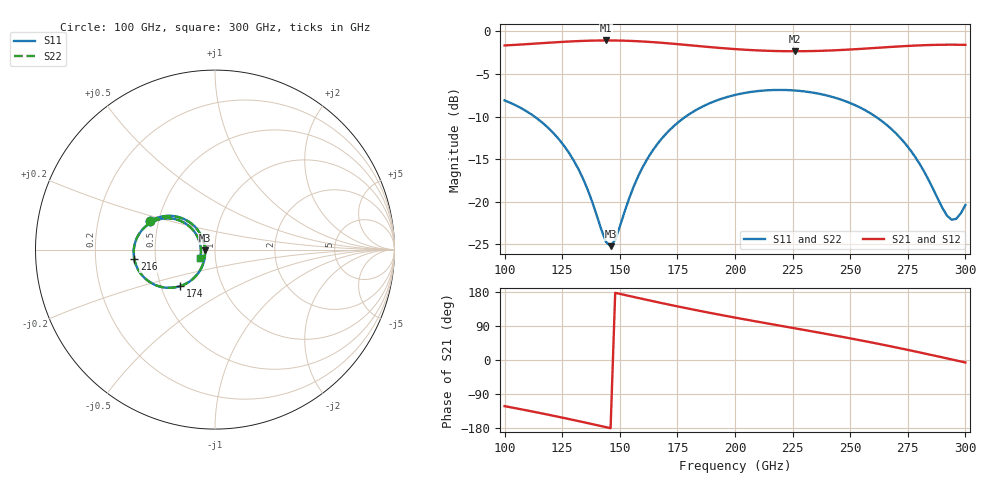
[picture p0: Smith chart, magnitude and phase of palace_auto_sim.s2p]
#  GHZ S DB R 50
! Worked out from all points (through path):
!   101 points, 100 GHz to 300 GHz, reference 50 ohm
!   highest |S21| = -1.06 dB at 144 GHz (marker M1); lowest = -2.3 dB at 226 GHz (marker M2)
!   group delay of S21, straight-line fit = 3.35 ps
!   lowest |S11| = -25.2 dB at 146 GHz (marker M3), VSWR 1.12, Z = 44.8 - j0.433 ohm
!   |S11| at or under -10 dB: 113 GHz to 178.6 GHz (65.65 GHz wide, 45 % of centre); 261 GHz to end of sweep
!   |S22| runs from -25.1 to -6.9 dB; largest |S21 - S12| = 9.6e-14
!   S11 on the Smith chart (normalised r, x): 100 GHz: 0.45, +0.17; 174 GHz: 0.63, -0.28; 216 GHz: 0.38, -0.05; 300 GHz: 0.84, -0.08
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100  -8.10 156.0  -1.64 -121.8  -1.64 -121.8  -8.10 156.2
110  -9.46 146.3  -1.48 -133.4  -1.48 -133.4  -9.45 146.4
120  -11.61 137.3  -1.31 -145.7  -1.31 -145.7  -11.60 137.5
128  -14.29 131.9  -1.18 -155.9  -1.18 -155.9  -14.27 132.2
134  -17.27 131.5  -1.11 -163.8  -1.11 -163.8  -17.24 131.9
144  -24.72 165.7  -1.06 -177.3  -1.06 -177.3  -24.59 166.0
146  -25.23 -175.0  -1.06 -180.0  -1.06 -180.0  -25.07 -175.0
148  -24.46 -156.3  -1.06 177.3  -1.06 177.3  -24.33 -156.6
158  -17.00 -125.7  -1.15 163.7  -1.15 163.7  -16.97 -126.0
168  -12.65 -129.0  -1.33 150.5  -1.33 150.5  -12.64 -129.1
174  -10.98 -133.8  -1.46 142.8  -1.46 142.8  -10.98 -133.9
186  -8.81 -144.9  -1.76 128.1  -1.76 128.1  -8.81 -145.0
200  -7.46 -158.3  -2.07 111.9  -2.07 111.9  -7.46 -158.4
216  -6.88 -173.3  -2.28 94.4  -2.28 94.4  -6.88 -173.3
226  -6.93 177.5  -2.32 83.6  -2.32 83.6  -6.93 177.5
234  -7.19 170.2  -2.30 75.0  -2.30 75.0  -7.19 170.3
252  -8.64 154.1  -2.09 54.8  -2.09 54.8  -8.64 154.1
268  -11.49 141.5  -1.81 35.5  -1.81 35.5  -11.49 141.5
280  -15.50 138.1  -1.64 20.2  -1.64 20.2  -15.49 138.2
292  -21.63 166.1  -1.56 4.2  -1.56 4.2  -21.59 166.2
296  -22.02 -169.2  -1.56 -1.2  -1.56 -1.2  -21.98 -169.2
300  -20.39 -148.9  -1.57 -6.5  -1.57 -6.5  -20.36 -149.0
